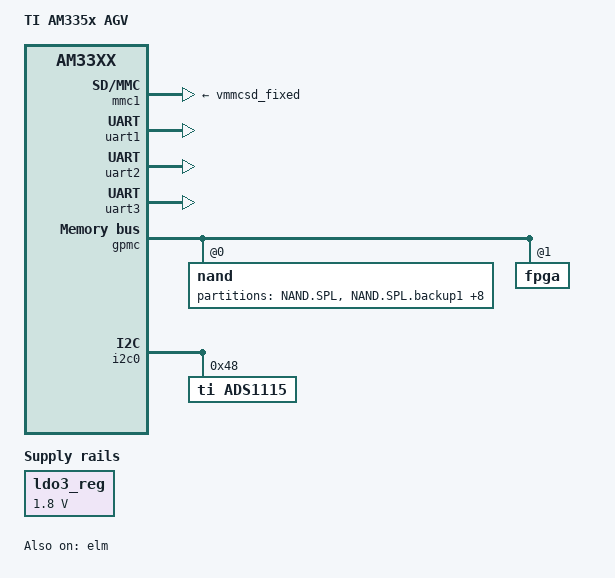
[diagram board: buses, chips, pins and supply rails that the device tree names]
/*
 * Copyright (C) 2012 Texas Instruments Incorporated - http://www.ti.com/
 *
 * This program is free software; you can redistribute it and/or modify
 * it under the terms of the GNU General Public License version 2 as
 * published by the Free Software Foundation.
 */
/dts-v1/;

#include "am33xx.dtsi"
#include "am33xx-es2.dtsi"


#include "am335x-agv-common.dtsi"

/ {
	model = "TI AM335x AGV";
	compatible = "ti,am335x-agv", "ti,am33xx";
	
	gpio_helper {
		compatible = "gpio-of-helper";
		status = "okay";
		pinctrl-names = "default";
		pinctrl-0 = <&gpio_helper_pins>;
	};
};

&ldo3_reg {
	regulator-min-microvolt = <1800000>;
	regulator-max-microvolt = <1800000>;
	regulator-always-on;
};

&mmc1 {
	vmmc-supply = <&vmmcsd_fixed>;
};

&uart1 {
	pinctrl-names = "default";
	pinctrl-0 = <&uart1_pins>;
	status = "okay";
};

&uart2 {
	pinctrl-names = "default";
	pinctrl-0 = <&uart2_pins>;
	status = "okay";
};

&uart3 {
	pinctrl-names = "default";
	pinctrl-0 = <&uart3_pins>;
	status = "okay";
	rts-gpio = <&gpio3 18 GPIO_ACTIVE_HIGH>;
	rs485-rts-active-high;
	rs485-rts-delay = <0 0>;
	linux,rs485-enabled-at-boot-time;
};

&elm {
	status = "okay";
};

&gpmc {
	status = "okay";
	pinctrl-names = "default";
	pinctrl-0 = <&gpmc_pins>;
	ranges = <0 0 0x08000000 0x1000000>,	/* CS0: 16MB for NAND */
			 <1 0 0x10000000 0x1000000>;	/* CS1: 16MB for fpga */
	nand@0,0 {
		reg = <0 0 4>; /* CS0, offset 0, IO size 4 */
		ti,nand-ecc-opt = "bch8";
		ti,elm-id = <&elm>;
		nand-bus-width = <8>;
		gpmc,device-width = <1>;
		gpmc,sync-clk-ps = <0>;
		gpmc,cs-on-ns = <0>;
		gpmc,cs-rd-off-ns = <44>;
		gpmc,cs-wr-off-ns = <44>;
		gpmc,adv-on-ns = <6>;
		gpmc,adv-rd-off-ns = <34>;
		gpmc,adv-wr-off-ns = <44>;
		gpmc,we-on-ns = <0>;
		gpmc,we-off-ns = <40>;
		gpmc,oe-on-ns = <0>;
		gpmc,oe-off-ns = <54>;
		gpmc,access-ns = <64>;
		gpmc,rd-cycle-ns = <82>;
		gpmc,wr-cycle-ns = <82>;
		gpmc,wait-on-read = "true";
		gpmc,wait-on-write = "true";
		gpmc,bus-turnaround-ns = <0>;
		gpmc,cycle2cycle-delay-ns = <0>;
		gpmc,clk-activation-ns = <0>;
		gpmc,wait-monitoring-ns = <0>;
		gpmc,wr-access-ns = <40>;
		gpmc,wr-data-mux-bus-ns = <0>;
		/* gpmc,device-nand = "true"; */
		/* MTD partition table */
		/* All SPL-* partitions are sized to minimal length
		 * which can be independently programmable. For
		 * NAND flash this is equal to size of erase-block */
		#address-cells = <1>;
		#size-cells = <1>;
		partition@0 {
			label = "NAND.SPL";
			reg = <0x00000000 0x000020000>;		/* offset, size */
		};
		partition@1 {
			label = "NAND.SPL.backup1";
			reg = <0x00020000 0x00020000>;
		};
		partition@2 {
			label = "NAND.SPL.backup2";
			reg = <0x00040000 0x00020000>;
		};
		partition@3 {
			label = "NAND.SPL.backup3";
			reg = <0x00060000 0x00020000>;
		};
		partition@4 {
			label = "NAND.u-boot-spl-os";
			reg = <0x00080000 0x00040000>;
		};
		partition@5 {
			label = "NAND.u-boot";
			reg = <0x000C0000 0x00100000>;
		};
		partition@6 {
			label = "NAND.u-boot-env";
			reg = <0x001C0000 0x00020000>;
		};
		partition@7 {
			label = "NAND.u-boot-env.backup1";
			reg = <0x001E0000 0x00020000>;
		};
		partition@8 {
			label = "NAND.kernel";
			reg = <0x00200000 0x00800000>;
		};
		partition@9 {
			label = "NAND.file-system";
			reg = <0x00A00000 0x0F600000>;
		};
	};
	fpga@1,0 {
		reg = <1 0 0x1000000>;		/* CS1, offset 0 */
		bank-width = <2>;
		gpmc,device-width = <2>;
		gpmc,sync-clk-ps = <0>;		/* timings */
		gpmc,cs-on-ns = <0>;
		gpmc,cs-rd-off-ns = <90>;	/* 80 */
		gpmc,cs-wr-off-ns = <80>;	/* 70 */
		gpmc,adv-on-ns = <0>;
		gpmc,adv-rd-off-ns = <0>;
		gpmc,adv-wr-off-ns = <0>;
		gpmc,we-on-ns = <10>;	/* 10 */
		gpmc,we-off-ns = <80>;	/* 70 */
		gpmc,oe-on-ns = <10>;	/* 10 */
		gpmc,oe-off-ns = <80>;	/* 70 */
		gpmc,access-ns = <70>;	/* 60 */
		gpmc,rd-cycle-ns = <80>;	/* 70 */
		gpmc,wr-cycle-ns = <70>;	/* 60 */
		gpmc,wr-access-ns = <10>;	/* 10 */
		#address-cells = <1>;
		#size-cells = <1>;
	};
};

&am33xx_pinmux {
	uart1_pins: pinmux_uart1_pins {
		pinctrl-single,pins = <
			/* uart1_txd.uart1_txd */
			AM33XX_IOPAD(0x984, PIN_OUTPUT_PULLDOWN | MUX_MODE0)
			/* uart1_rxd.uart1_rxd */
			AM33XX_IOPAD(0x980, PIN_INPUT_PULLUP | MUX_MODE0)
		>;
	};
	uart2_pins: pinmux_uart2_pins {
		pinctrl-single,pins = <
			/* spi0_d0.uart2_txd */
			AM33XX_IOPAD(0x954, PIN_OUTPUT_PULLDOWN | MUX_MODE1)
			/* spi0_clk.uart2_rxd */
			AM33XX_IOPAD(0x950, PIN_INPUT_PULLUP | MUX_MODE1)
		>;
	};
	uart3_pins: pinmux_uart3_pins {
		pinctrl-single,pins = <
			/* lcd_enbkl(eCAP0_in_PWM0_out).uart3_txd */
			AM33XX_IOPAD(0x964, PIN_OUTPUT_PULLDOWN | MUX_MODE1)
			/* spi0_cs1.uart3_rxd */
			AM33XX_IOPAD(0x960, PIN_INPUT_PULLUP | MUX_MODE1)
			/* mcasp0_aclkr GPIO3[18], OUTPUT_PULLDOWN | MODE7 --> UART3_DE */
			AM33XX_IOPAD(0x9A0, PIN_OUTPUT_PULLDOWN | MUX_MODE7)
		>;
	};
	gpmc_pins: pinmux_gpmc_pins {
		pinctrl-single,pins = <
			0x0	(PIN_INPUT_PULLUP | MUX_MODE0)	/* gpmc_ad0.gpmc_ad0 */
			0x4	(PIN_INPUT_PULLUP | MUX_MODE0)	/* gpmc_ad1.gpmc_ad1 */
			0x8	(PIN_INPUT_PULLUP | MUX_MODE0)	/* gpmc_ad2.gpmc_ad2 */
			0xc	(PIN_INPUT_PULLUP | MUX_MODE0)	/* gpmc_ad3.gpmc_ad3 */
			0x10	(PIN_INPUT_PULLUP | MUX_MODE0)	/* gpmc_ad4.gpmc_ad4 */
			0x14	(PIN_INPUT_PULLUP | MUX_MODE0)	/* gpmc_ad5.gpmc_ad5 */
			0x18	(PIN_INPUT_PULLUP | MUX_MODE0)	/* gpmc_ad6.gpmc_ad6 */
			0x1c	(PIN_INPUT_PULLUP | MUX_MODE0)	/* gpmc_ad7.gpmc_ad7 */
			0x70	(PIN_INPUT_PULLUP | MUX_MODE0)	/* gpmc_wait0.gpmc_wait0 */
			/* 0x74	0x37 */	/* gpmc_wpn.gpio0_30 */
			0x7c	(PIN_OUTPUT | MUX_MODE0)	/* gpmc_csn0.gpmc_csn0  */
			0x90	(PIN_OUTPUT | MUX_MODE0)	/* gpmc_advn_ale.gpmc_advn_ale */
			0x94	(PIN_OUTPUT | MUX_MODE0)	/* gpmc_oen_ren.gpmc_oen_ren */
			0x98	(PIN_OUTPUT | MUX_MODE0)	/* gpmc_wen.gpmc_wen */
			0x9c	(PIN_OUTPUT | MUX_MODE0)	/* gpmc_be0n_cle.gpmc_be0n_cle */
			/* for fpga */
			0x20	(PIN_INPUT_PULLUP | MUX_MODE0)	/* gpmc_ad8.gpmc_ad8 MODE0 | INPUT | PULLUP */
			0x24	(PIN_INPUT_PULLUP | MUX_MODE0)	/* gpmc_ad9.gpmc_ad9 MODE0 | INPUT | PULLUP */
			0x28	(PIN_INPUT_PULLUP | MUX_MODE0)	/* gpmc_ad10.gpmc_ad10 MODE0 | INPUT | PULLUP */
			0x2C	(PIN_INPUT_PULLUP | MUX_MODE0)	/* gpmc_ad11.gpmc_ad11 MODE0 | INPUT | PULLUP */
			0x30	(PIN_INPUT_PULLUP | MUX_MODE0)	/* gpmc_ad12.gpmc_ad12 MODE0 | INPUT | PULLUP */
			0x34	(PIN_INPUT_PULLUP | MUX_MODE0)	/* gpmc_ad13.gpmc_ad13 MODE0 | INPUT | PULLUP */
			0x38	(PIN_INPUT_PULLUP | MUX_MODE0)	/* gpmc_ad14.gpmc_ad14 MODE0 | INPUT | PULLUP */
			0x3C	(PIN_INPUT_PULLUP | MUX_MODE0)	/* gpmc_ad15.gpmc_ad15 MODE0 | INPUT | PULLUP */
			0x80	(PIN_OUTPUT | MUX_MODE0)	/* gpmc_cscn1.gpmc_cscn1 MODE0 | OUTPUT */
			0x40	(PIN_OUTPUT | MUX_MODE0)	/* gpmc_a0.gpmc_a0 MODE0 */
			0x44	(PIN_OUTPUT | MUX_MODE0)	/* gpmc_a1.gpmc_a1 MODE0 */
			0x48	(PIN_OUTPUT | MUX_MODE0)	/* gpmc_a2.gpmc_a2 MODE0 */
			0x4C	(PIN_OUTPUT | MUX_MODE0)	/* gpmc_a3.gpmc_a2 MODE0 */
			0x50	(PIN_OUTPUT | MUX_MODE0)	/* gpmc_a4.gpmc_a4 MODE0 */
			0x54	(PIN_OUTPUT | MUX_MODE0)	/* gpmc_a5.gpmc_a5 MODE0 */
			0x58	(PIN_OUTPUT | MUX_MODE0)	/* gpmc_a6.gpmc_a6 MODE0 */
			0x5C	(PIN_OUTPUT | MUX_MODE0)	/* gpmc_a7.gpmc_a7 MODE0 */
			/*0x60	0x08	 gpmc_a8.gpmc_a8 MODE0 */
		>;
	};
	gpio_helper_pins: pinmux_gpio_helper_pins {
		pinctrl-single,pins = <
			AM33XX_IOPAD(0x968, PIN_INPUT | MUX_MODE7)
			AM33XX_IOPAD(0x96C, PIN_INPUT | MUX_MODE7)
			AM33XX_IOPAD(0x978, PIN_INPUT | MUX_MODE7)
			AM33XX_IOPAD(0x97C, PIN_INPUT | MUX_MODE7)
			AM33XX_IOPAD(0x994, PIN_OUTPUT | MUX_MODE7)
			AM33XX_IOPAD(0x998, PIN_OUTPUT | MUX_MODE7)
			AM33XX_IOPAD(0x99C, PIN_OUTPUT | MUX_MODE7)
			AM33XX_IOPAD(0x9A4, PIN_OUTPUT | MUX_MODE7)
		>;
	};
};

&i2c0 {
	#address-cells = <1>;
	#size-cells = <0>;
	status = "okay";

	ads1115: ads1115@48 {
		compatible = "ti,ads1115";
		status = "okay";
		#address-cells = <1>;
		#size-cells = <0>;
		reg = <0x48>;
		channel@1 {
			reg = <0>;
			ti,gain = <2>;
			ti,datarate = <2>;		// 32 SPS
		};
		channel@2 {
			reg = <3>;
			ti,gain = <1>;
			ti,datarate = <2>;		// 32 SPS
		};
	};
};
